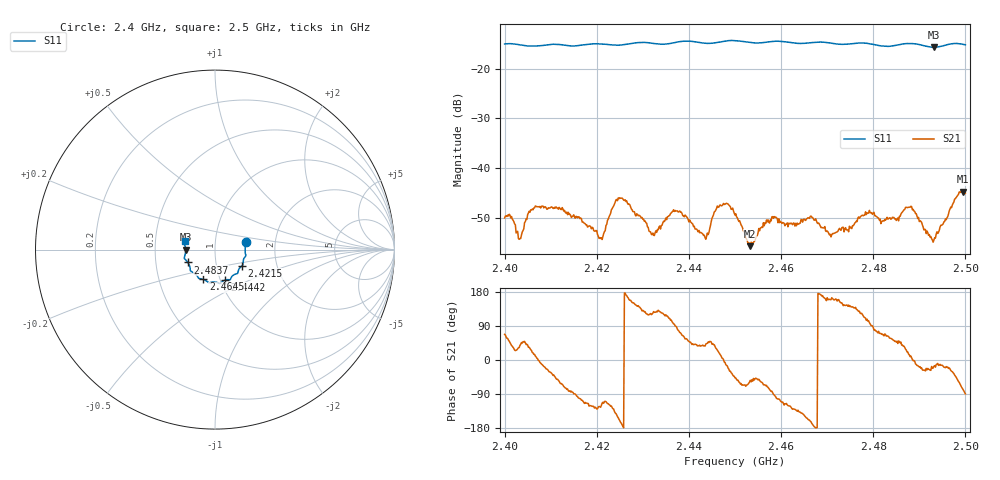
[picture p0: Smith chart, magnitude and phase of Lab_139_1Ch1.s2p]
# Hz S RI R 50
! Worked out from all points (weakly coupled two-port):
!   601 points, 2.4 GHz to 2.5 GHz, reference 50 ohm
!   highest |S21| = -44.68 dB at 2.4995 GHz (marker M1); lowest = -55.6 dB at 2.4533 GHz (marker M2)
!   lowest |S11| = -15.7 dB at 2.4932 GHz (marker M3), VSWR 1.39, Z = 36 - j0.0578 ohm
!   |S11| at or under -10 dB: start of sweep to end of sweep
!   S12 and S22 are empty: the file has one direction only
!   S11 on the Smith chart (normalised r, x): 2.4 GHz: 1.41, +0.12; 2.4215 GHz: 1.33, -0.25; 2.4442 GHz: 1.05, -0.37; 2.4645 GHz: 0.83, -0.29; 2.4837 GHz: 0.73, -0.11; 2.5 GHz: 0.71, +0.07
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2.4e9  0.1713 0.04  0.00121 0.00293  0 0  0 0
2.403167e9  0.1712 0.0259  0.00163 0.00105  0 0  0 0
2.406833e9  0.1678 -0.0106  0.00411 0.000596  0 0  0 0
2.416667e9  0.1568 -0.0697  -0.000857 -0.003  0 0  0 0
2.4215e9  0.151 -0.0899  -0.000908 -0.00202  0 0  0 0
2.425167e9  0.1334 -0.1084  -0.00481 -0.00135  0 0  0 0
2.433333e9  0.1083 -0.1384  -0.00159 0.00181  0 0  0 0
2.437e9  0.0884 -0.1594  -1.05e-05 0.00378  0 0  0 0
2.444167e9  0.0566 -0.1693  0.00146 0.0016  0 0  0 0
2.4465e9  0.0376 -0.1797  0.00384 0.00139  0 0  0 0
2.45e9  0.0251 -0.1891  0.00231 -0.00249  0 0  0 0
2.453333e9  0.00752 -0.1818  0.000983 -0.00133  0 0  0 0
2.4585e9  -0.0305 -0.1849  -0.000139 -0.00328  0 0  0 0
2.4645e9  -0.0657 -0.166  -0.00233 -0.00195  0 0  0 0
2.466667e9  -0.0826 -0.1621  -0.00315 -0.000706  0 0  0 0
2.470833e9  -0.0958 -0.1521  -0.00192 0.000729  0 0  0 0
2.483333e9  -0.1489 -0.0751  0.00146 0.00276  0 0  0 0
2.483667e9  -0.151 -0.0717  0.00171 0.00268  0 0  0 0
2.488167e9  -0.1715 -0.0477  0.00409 0.000736  0 0  0 0
2.493167e9  -0.1633 -0.000782  0.00183 -0.000544  0 0  0 0
2.4995e9  -0.1681 0.0473  0.0012 -0.00571  0 0  0 0
2.5e9  -0.1653 0.0505  7.82e-05 -0.00564  0 0  0 0
